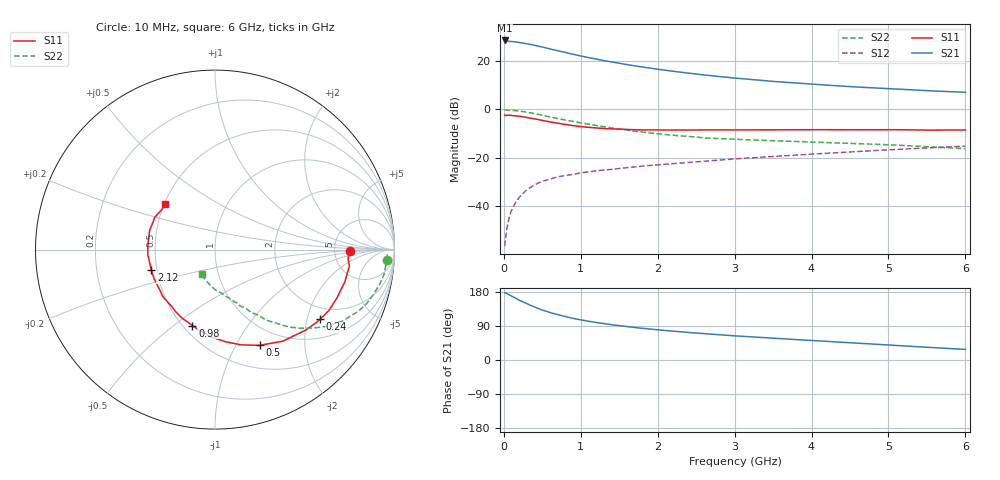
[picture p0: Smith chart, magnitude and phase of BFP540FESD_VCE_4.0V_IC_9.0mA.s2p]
! Infineon Technologies  Discrete & RF Semiconductors
! BFP540FESD
! VCE =  4.0 V,  IC =  9.0 mA
! Common Emitter S-Parameters:  Nov 2015
# GHz  S  MA  R  50
!  f  S11  S21  S12  S22
! GHz  MAG  ANG  MAG  ANG  MAG  ANG  MAG  ANG
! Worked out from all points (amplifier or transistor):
!   210 points, 10 MHz to 6 GHz, reference 50 ohm
!   highest |S21| = 28.4 dB at 10 MHz (marker M1)
!   |S21| within 3 dB of that: start of sweep to 536.8 MHz
!   unconditionally stable (mu >= 1): start of sweep to 11.17 MHz; 2.301 GHz to end of sweep
!   at 185 MHz: K = 0.24, MSG = 32.3 dB, |S12| = -37.0 dB
!   at 1.52 GHz: K = 0.81, MSG = 21.6 dB, |S12| = -24.4 dB
!   at 6 GHz: K = 1.23, MAG = 8.2 dB, |S12| = -15.2 dB
!   S11 on the Smith chart (normalised r, x): 10 MHz: 7.00, -0.17; 240 MHz: 1.57, -2.41; 500 MHz: 0.77, -1.26; 980 MHz: 0.56, -0.59; 2.12 GHz: 0.47, -0.12; 6 GHz: 0.51, +0.30
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0.01  0.7501 -0.4  26.18 177.8  0.0015 33.1  0.961 -3.5
0.02  0.7437 -4.1  25.28 177.2  0.002 56.7  0.9599 -1.6
0.05  0.7543 -6.9  25.27 174.1  0.0042 68.7  0.9584 -4.1
0.15  0.7302 -22.0  24.58 163.4  0.0117 73.8  0.936 -12.3
0.24  0.7027 -33.5  23.33 154.1  0.0178 72.0  0.8989 -19.2
0.3  0.6756 -41.6  22.48 148.2  0.0218 69.3  0.8676 -23.4
0.4  0.6347 -53.5  20.82 139.6  0.0277 64.2  0.8122 -29.5
0.5  0.5892 -64.9  19.19 131.8  0.0326 61.9  0.7502 -34.9
0.6  0.5496 -74.9  17.49 125.2  0.0363 58.7  0.6948 -39.0
0.7  0.5157 -83.7  16.07 119.7  0.0402 56.7  0.6464 -42.7
0.82  0.479 -94.7  14.5 113.5  0.0435 55.0  0.5898 -46.7
0.98  0.4415 -106.5  12.71 106.7  0.0481 53.7  0.529 -50.5
1.02  0.4345 -109.4  12.33 105.2  0.0492 53.2  0.5154 -51.5
1.2  0.4108 -121.9  10.77 98.9  0.0538 51.9  0.4613 -55.4
1.46  0.391 -136.0  9.067 91.6  0.059 50.7  0.3987 -60.2
2.02  0.373 -159.9  6.616 79.2  0.072 49.7  0.309 -69.8
2.12  0.3721 -162.3  6.303 77.5  0.074 49.5  0.2981 -70.9
2.6  0.3758 -175.4  5.095 69.6  0.0848 48.7  0.2558 -79.1
3.1  0.3743 174.9  4.259 62.6  0.0967 47.5  0.2362 -84.8
4.1  0.379 162.1  3.21 50.2  0.1211 44.6  0.2074 -95.0
5.1  0.3787 150.4  2.604 38.4  0.1483 39.3  0.1816 -105.1
6  0.3738 137.6  2.231 28.0  0.1736 33.6  0.1539 -117.6
